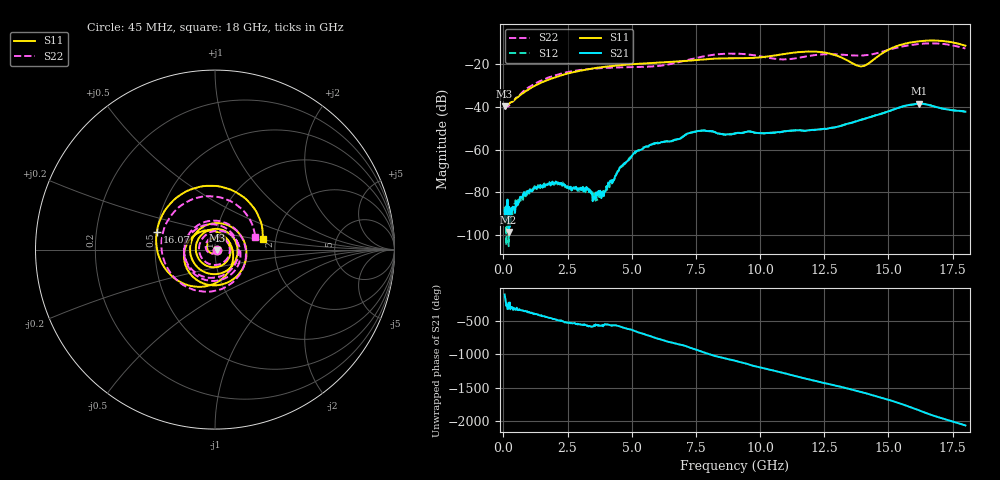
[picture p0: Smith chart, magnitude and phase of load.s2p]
!Agilent Technologies,E8364A,US41440284,A.06.04.32
!Agilent E8364A: A.06.04.32
!Date: Friday, December 06, 2019 10:39:14
!Correction: S11(Full 2 Port(1,2)) S21(Full 2 Port(1,2)) S12(Full 2 Port(1,2)) S22(Full 2 Port(1,2))
!S2P File: Measurements: S11, S21, S12, S22:
# Hz S  MA  R 50
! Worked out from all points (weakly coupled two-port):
!   801 points, 45 MHz to 18 GHz, reference 50 ohm
!   highest |S21| = -38.38 dB at 16.2 GHz (marker M1); lowest = -98.5 dB at 202.1 MHz (marker M2)
!   lowest |S11| = -39.6 dB at 45 MHz (marker M3), VSWR 1.02, Z = 51 - j0.175 ohm
!   |S11| at or under -10 dB: start of sweep to 15.76 GHz; 17.61 GHz to end of sweep
!   |S22| runs from -41.1 to -10.2 dB; largest |S21 - S12| = 0.00016
!   S11 on the Smith chart (normalised r, x): 45 MHz: 1.02, -0.00; 16.07 GHz: 0.50, +0.11; 18 GHz: 1.71, +0.22
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4.5e7  0.01049 -9.4  3.953e-05 -106.2  4.632e-05 -164.9  0.008814 -13.9
2.021062e8  0.01159 -36.9  1.193e-05 132.4  5.514e-06 115.4  0.01057 -41.6
1.414069e9  0.03589 -161.2  0.0001389 -58.8  0.0001428 -55.7  0.04015 -157.6
2.042494e9  0.05018 150.4  0.0001798 -120.9  0.0001666 -117.0  0.0557 158.8
3.052462e9  0.07198 69.1  0.0001235 163.2  0.0001157 165.6  0.07427 82.5
3.905325e9  0.08657 -4.9  8.181e-05 153.1  9.484e-05 161.2  0.08194 9.1
5.117288e9  0.1015 -117.5  0.0008649 69.2  0.0007993 71.1  0.08603 -107.8
6.037481e9  0.1094 152.2  0.001425 -49.5  0.001497 -48.1  0.09144 152.8
6.823012e9  0.1171 71.4  0.001774 -131.4  0.001796 -130.1  0.1118 65.9
7.630988e9  0.1276 -11.0  0.002742 131.8  0.002734 132.0  0.1465 -14.1
9.0225e9  0.1388 -151.7  0.002432 -16.7  0.002387 -17.7  0.178 -137.4
1.034668e10  0.1535 63.4  0.002468 -148.9  0.002485 -148.2  0.1413 93.7
1.113221e10  0.1813 -19.3  0.002782 136.6  0.002769 136.4  0.1319 -2.5
1.202996e10  0.1995 -103.8  0.002914 51.0  0.002899 51.6  0.1611 -104.6
1.290527e10  0.1658 176.6  0.003346 -27.2  0.003318 -26.8  0.1716 167.9
1.393768e10  0.0895 38.2  0.005008 -126.0  0.005024 -125.8  0.1599 52.3
1.447633e10  0.1363 -52.0  0.00634 176.8  0.006289 177.1  0.1773 -14.4
1.501498e10  0.2218 -110.7  0.007988 116.6  0.007967 116.8  0.2183 -75.6
1.606984e10  0.3392 162.8  0.01177 -21.9  0.01169 -22.2  0.2942 -174.1
1.62045e10  0.3467 152.8  0.01205 -42.0  0.01195 -41.5  0.2997 174.6
1.710225e10  0.3524 85.6  0.009191 -161.4  0.009261 -161.4  0.3019 100.2
1.8e10  0.2726 12.9  0.007763 93.4  0.00784 94.3  0.2352 17.9
